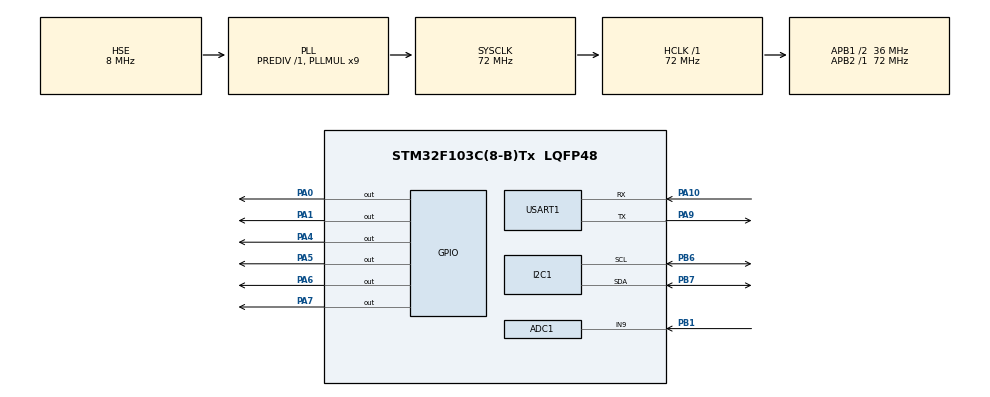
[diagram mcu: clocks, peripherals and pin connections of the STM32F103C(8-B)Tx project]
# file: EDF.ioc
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ADC1.Channel-0\#ChannelRegularConversion=ADC_CHANNEL_9
ADC1.NbrOfConversionFlag=1
ADC1.Rank-0\#ChannelRegularConversion=1
ADC1.SamplingTime-0\#ChannelRegularConversion=ADC_SAMPLETIME_1CYCLE_5
ADC1.master=1
FREERTOS.Tasks01=Task01,32,128,StartTask01,Default,NULL,Dynamic,NULL,NULL;Task02,24,128,StartTask02,Default,NULL,Dynamic,NULL,NULL;Task03,16,128,StartTask03,Default,NULL,Dynamic,NULL,NULL;Task04,24,128,StartTask04,Default,NULL,Dynamic,NULL,NULL
Mcu.Family=STM32F1
Mcu.Name=STM32F103C(8-B)Tx
Mcu.Package=LQFP48
NVIC.PriorityGroup=NVIC_PRIORITYGROUP_4
NVIC.TIM4_IRQn=true\:0\:0\:false\:false\:true\:false\:false\:true
NVIC.TimeBase=TIM4_IRQn
NVIC.TimeBaseIP=TIM4
PA0-WKUP.Signal=GPIO_Output
PA1.Signal=GPIO_Output
PA10.Mode=Asynchronous
PA10.Signal=USART1_RX
PA13.Mode=Serial_Wire
PA13.Signal=SYS_JTMS-SWDIO
PA14.Mode=Serial_Wire
PA14.Signal=SYS_JTCK-SWCLK
PA4.Signal=GPIO_Output
PA5.Signal=GPIO_Output
PA6.Signal=GPIO_Output
PA7.Signal=GPIO_Output
PA9.Mode=Asynchronous
PA9.Signal=USART1_TX
PB1.Signal=ADCx_IN9
PB6.Mode=I2C
PB6.Signal=I2C1_SCL
PB7.Mode=I2C
PB7.Signal=I2C1_SDA
PD0-OSC_IN.Mode=HSE-External-Oscillator
PD0-OSC_IN.Signal=RCC_OSC_IN
PD1-OSC_OUT.Mode=HSE-External-Oscillator
PD1-OSC_OUT.Signal=RCC_OSC_OUT
ProjectManager.HeapSize=0x200
ProjectManager.StackSize=0x400
ProjectManager.TargetToolchain=MDK-ARM V5.27
RCC.ADCPresc=RCC_ADCPCLK2_DIV6
RCC.AHBFreq_Value=72000000
RCC.APB1CLKDivider=RCC_HCLK_DIV2
RCC.APB1Freq_Value=36000000
RCC.APB1TimFreq_Value=72000000
RCC.APB2Freq_Value=72000000
RCC.APB2TimFreq_Value=72000000
RCC.HCLKFreq_Value=72000000
RCC.PLLMUL=RCC_PLL_MUL9
RCC.PLLSourceVirtual=RCC_PLLSOURCE_HSE
RCC.SYSCLKFreq_VALUE=72000000
RCC.SYSCLKSource=RCC_SYSCLKSOURCE_PLLCLK
RCC.USBFreq_Value=72000000
SH.ADCx_IN9.0=ADC1_IN9,IN9
USART1.VirtualMode=VM_ASYNC
VP_FREERTOS_VS_CMSIS_V2.Mode=CMSIS_V2
VP_SYS_VS_tim4.Mode=TIM4
board=custom

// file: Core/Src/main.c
/* USER CODE BEGIN Header */
/**
  ******************************************************************************
  * @file           : main.c
  * @brief          : Main program body
  ******************************************************************************
  * @attention
  *
  * <h2><center>&copy; Copyright (c) 2026 STMicroelectronics.
  * All rights reserved.</center></h2>
  *
  * This software component is licensed by ST under Ultimate Liberty license
  * SLA0044, the "License"; You may not use this file except in compliance with
  * the License. You may obtain a copy of the License at:
  *                             www.st.com/SLA0044
  *
  ******************************************************************************
  */
/* USER CODE END Header */
#include "main.h"
#include "cmsis_os.h"

/* USER CODE BEGIN Includes */
#include <stdio.h>
#include <string.h>
#include <stdarg.h>
#include <stdlib.h>
#include "LCD.h"
#include "SHT31.h"
#include "Soil_Moisture.h"
/* USER CODE END Includes */

/* USER CODE BEGIN PD */
#define Num_Task  4
/* USER CODE END PD */

/* USER CODE BEGIN PM */
typedef struct {
	osThreadId_t *handlePtr; // Pointer points to the Task handle
	uint32_t Period ; 		   // Period T (ms)
	uint32_t NextDeadline ;  // Absolute Tick
	uint32_t ExcutiveTime ;  //  C(ms)
	char* Task_Name;
} EDF_Task_Block_t;

// Global variable manager EDF
EDF_Task_Block_t EDF_Table[Num_Task];

/* USER CODE END PM */

ADC_HandleTypeDef hadc1;

I2C_HandleTypeDef hi2c1;

UART_HandleTypeDef huart1;

/* Definitions for Task01 */
osThreadId_t Task01Handle;
/* Definitions for Task02 */
osThreadId_t Task02Handle;
/* Definitions for Task03 */
osThreadId_t Task03Handle;
/* Definitions for Task04 */
osThreadId_t Task04Handle;
// Definition for Task EDF
osThreadId_t TaskSchedulerHandle;

// Task attribute
const osThreadAttr_t default_attr = {
	.priority = (osPriority_t) osPriorityNormal,
	.stack_size = 128 * 4
};
const osThreadAttr_t scheduler_attr = {
	.name = "EDF_Scheduler", .priority = (osPriority_t) osPriorityRealtime,
	.stack_size = 128 * 4
};
/* USER CODE BEGIN PV */
volatile uint32_t SHT31_Period = 500;
volatile uint32_t SM_Period = 1000;
volatile uint32_t DisplayLCD_Period	= 2000;
volatile uint32_t UART_Period	= 1000;
/* USER CODE END PV */

void SystemClock_Config(void);
static void MX_GPIO_Init(void);
static void MX_ADC1_Init(void);
static void MX_I2C1_Init(void);
static void MX_USART1_UART_Init(void);
void StartTask01(void *argument);
void StartTask02(void *argument);
void StartTask03(void *argument);
void StartTask04(void *argument);
void StartTaskScheduler(void *argument);

/* USER CODE BEGIN 0 */
char buff[128];
void Debug_Log(const char *format,...){
	va_list args ;
	va_start(args,format);
	vsnprintf(buff,sizeof(buff),format,args);
	va_end(args);
	// UART
	HAL_UART_Transmit(&huart1,(uint8_t *)buff,strlen(buff),100);
}
// Receive UART
uint8_t rx_byte;
uint8_t rx_buffer[20];
uint8_t rx_index = 0;
void Process_Command(char *cmd) {
    int value = 0;
    char *ptr = NULL;
    if ((ptr = strstr(cmd, "SHT31:")) != NULL) {
        value = atoi(ptr + 6);
        if (value > 0) SHT31_Period = value;
        Debug_Log("\nSHT31 Period: %d\n", SHT31_Period);
    }
    else if ((ptr = strstr(cmd, "SM:")) != NULL) {
        value = atoi(ptr + 3);
        if (value > 0) SM_Period = value;
        Debug_Log("\nSM Period: %d\n", SM_Period);
    }
    else if ((ptr = strstr(cmd, "\nLCD:")) != NULL) {
        value = atoi(ptr + 4);
        if (value > 0) DisplayLCD_Period = value;
        Debug_Log("\nLCD Period: %d\n", DisplayLCD_Period);
    }
    else if ((ptr = strstr(cmd, "UART:")) != NULL) {
        value = atoi(ptr + 5);
        if (value > 0) UART_Period = value;
        Debug_Log("\nUART Period: %d\n", UART_Period);
    }
}
void HAL_UART_RxCpltCallback(UART_HandleTypeDef *huart) {
    if (huart->Instance == USART1) {
        if (rx_byte != '\n' && rx_index < sizeof(rx_buffer) - 1) {
            rx_buffer[rx_index++] = rx_byte;
        }
        else {
            rx_buffer[rx_index] = '\0';
            Process_Command((char *)rx_buffer);
            rx_index = 0;
        }
        HAL_UART_Receive_IT(&huart1, &rx_byte, 1);
    }
}
float temp ;
float humi;
uint8_t percenttage;
uint8_t LCD_SHT31[40];
void StartTask01(void *argument)
{
	sht31_init();
	uint32_t tick = osKernelGetTickCount();
  for(;;)
  {
		sht31_single_shot(&temp,&humi);
    EDF_Table[0].NextDeadline = tick + 2*EDF_Table[0].Period;
		tick+= EDF_Table[0].Period;
		osDelayUntil(tick);
  }
}
void StartTask02(void *argument)
{
  /* USER CODE BEGIN StartTask02 */
	uint32_t tick = osKernelGetTickCount();
  /* Infinite loop */
  for(;;)
  {
		percenttage = Read_Percen_SM();
		EDF_Table[1].NextDeadline = tick + 2*EDF_Table[1].Period;
		tick += EDF_Table[1].Period;
    osDelayUntil(tick);
  }
  /* USER CODE END StartTask02 */
}
void StartTask03(void *argument)
{
  /* USER CODE BEGIN StartTask03 */
	LCD_Init();
	uint32_t tick = osKernelGetTickCount();
  /* Infinite loop */
  for(;;)
  {
		LCD_SendCommand(0x01);
		LCD_Gotoxy(0,0);
		sprintf((char *)LCD_SHT31,"Temp:%.1f C",temp);
		LCD_Puts((char *)LCD_SHT31);
		LCD_Gotoxy(0,1);
		sprintf((char *)LCD_SHT31,"Hum:%.1f%%",humi);
		LCD_Puts((char *)LCD_SHT31);
		LCD_Gotoxy(10,1);
		sprintf((char *)LCD_SHT31,"SM:%d%%",percenttage);
		LCD_Puts((char *)LCD_SHT31);

		EDF_Table[2].NextDeadline = tick + 2*EDF_Table[2].Period;
		tick += EDF_Table[2].Period;
    osDelayUntil(tick);
  }
  /* USER CODE END StartTask03 */
}
void StartTask04(void *argument)
{
  /* USER CODE BEGIN StartTask04 */
	uint32_t tick = osKernelGetTickCount();
  /* Infinite loop */
  for(;;)
  {
		Debug_Log("Temp: %.2f C, Humi: %.2f%%, ",temp,humi );
		Debug_Log("SM: %d%% \n",percenttage);

		EDF_Table[3].NextDeadline = tick + 2*EDF_Table[3].Period;
		tick += EDF_Table[3].Period;
    osDelayUntil(tick);
  }
  /* USER CODE END StartTask04 */
}
void StartTaskScheduler( void *argument){
	while(1){
		uint32_t currentTick = osKernelGetTickCount();
		uint32_t minDeadline = 0xFFFFFFFF;
		int earliestTaskIndex = -1;
		for(int i=0; i< Num_Task ; i++){
			if(EDF_Table[i].NextDeadline > currentTick){
				if(EDF_Table[i].NextDeadline < minDeadline){
					minDeadline = EDF_Table[i].NextDeadline;
					earliestTaskIndex = i;
				}
			}
		}
		if(earliestTaskIndex != 1){
			for(int i=0; i<Num_Task; i++){
				if( i==earliestTaskIndex){
					osThreadSetPriority( *EDF_Table[i].handlePtr, osPriorityHigh);
				}
				else{
					osThreadSetPriority( *EDF_Table[i].handlePtr, osPriorityNormal);
				}
			}
		}
		osDelay(10);
	}
}
/* USER CODE END 0 */

int main(void)
{

  /* MCU Configuration--------------------------------------------------------*/

  /* Reset of all peripherals, Initializes the Flash interface and the Systick. */
  HAL_Init();

  /* Configure the system clock */
  SystemClock_Config();

  /* Initialize all configured peripherals */
  MX_GPIO_Init();
  MX_ADC1_Init();
  MX_I2C1_Init();
  MX_USART1_UART_Init();

  /* Init scheduler */
  osKernelInitialize();

  /* Create the thread(s) */
  /* creation of Task01 */
  Task01Handle = osThreadNew(StartTask01, NULL, &default_attr);

  /* creation of Task02 */
  Task02Handle = osThreadNew(StartTask02, NULL, &default_attr);

  /* creation of Task03 */
  Task03Handle = osThreadNew(StartTask03, NULL, &default_attr);

  /* creation of Task04 */
  Task04Handle = osThreadNew(StartTask04, NULL, &default_attr);

  /* USER CODE BEGIN RTOS_THREADS */
  /* add threads, ... */
	/* Config parameters EDF */
    // Task 1: SHT31 (C=20, T=500)
    EDF_Table[0].handlePtr = &Task01Handle;
    EDF_Table[0].Period = SHT31_Period;
    EDF_Table[0].ExcutiveTime = 20;
    EDF_Table[0].Task_Name = "SHT31";

    // Task 2: SM (C=2, T=1000)
    EDF_Table[1].handlePtr = &Task02Handle;
    EDF_Table[1].Period = SM_Period;
    EDF_Table[1].ExcutiveTime = 2;
    EDF_Table[1].Task_Name = "SM";

    // Task 3: LCD (C=20, T=2000)
    EDF_Table[2].handlePtr = &Task03Handle;
    EDF_Table[2].Period = DisplayLCD_Period;
    EDF_Table[2].ExcutiveTime = 20;
    EDF_Table[2].Task_Name = "LCD";

    // Task 4: UART (C=5, T=1000)
    EDF_Table[3].handlePtr = &Task04Handle;
    EDF_Table[3].Period = UART_Period;
    EDF_Table[3].ExcutiveTime = 5;
    EDF_Table[3].Task_Name = "UART";

		// Init deadline
		uint32_t currentTick = osKernelGetTickCount();
		for(int i=0; i<Num_Task; i++){
			EDF_Table[i].NextDeadline = currentTick + EDF_Table[i].Period;
		}
		TaskSchedulerHandle = osThreadNew(StartTaskScheduler,NULL, &scheduler_attr);

  /* USER CODE END RTOS_THREADS */

  /* Start scheduler */
  osKernelStart();

  /* We should never get here as control is now taken by the scheduler */
  /* Infinite loop */
  while (1)
  {

  }
}

void SystemClock_Config(void)
{
  RCC_OscInitTypeDef RCC_OscInitStruct = {0};
  RCC_ClkInitTypeDef RCC_ClkInitStruct = {0};
  RCC_PeriphCLKInitTypeDef PeriphClkInit = {0};

  /** Initializes the RCC Oscillators according to the specified parameters
  * in the RCC_OscInitTypeDef structure.
  */
  RCC_OscInitStruct.OscillatorType = RCC_OSCILLATORTYPE_HSE;
  RCC_OscInitStruct.HSEState = RCC_HSE_ON;
  RCC_OscInitStruct.HSEPredivValue = RCC_HSE_PREDIV_DIV1;
  RCC_OscInitStruct.HSIState = RCC_HSI_ON;
  RCC_OscInitStruct.PLL.PLLState = RCC_PLL_ON;
  RCC_OscInitStruct.PLL.PLLSource = RCC_PLLSOURCE_HSE;
  RCC_OscInitStruct.PLL.PLLMUL = RCC_PLL_MUL9;
  if (HAL_RCC_OscConfig(&RCC_OscInitStruct) != HAL_OK)
  {
    Error_Handler();
  }
  /** Initializes the CPU, AHB and APB buses clocks
  */
  RCC_ClkInitStruct.ClockType = RCC_CLOCKTYPE_HCLK|RCC_CLOCKTYPE_SYSCLK
                              |RCC_CLOCKTYPE_PCLK1|RCC_CLOCKTYPE_PCLK2;
  RCC_ClkInitStruct.SYSCLKSource = RCC_SYSCLKSOURCE_PLLCLK;
  RCC_ClkInitStruct.AHBCLKDivider = RCC_SYSCLK_DIV1;
  RCC_ClkInitStruct.APB1CLKDivider = RCC_HCLK_DIV2;
  RCC_ClkInitStruct.APB2CLKDivider = RCC_HCLK_DIV1;

  if (HAL_RCC_ClockConfig(&RCC_ClkInitStruct, FLASH_LATENCY_2) != HAL_OK)
  {
    Error_Handler();
  }
  PeriphClkInit.PeriphClockSelection = RCC_PERIPHCLK_ADC;
  PeriphClkInit.AdcClockSelection = RCC_ADCPCLK2_DIV6;
  if (HAL_RCCEx_PeriphCLKConfig(&PeriphClkInit) != HAL_OK)
  {
    Error_Handler();
  }
}

static void MX_ADC1_Init(void)
{

  ADC_ChannelConfTypeDef sConfig = {0};

  /** Common config
  */
  hadc1.Instance = ADC1;
  hadc1.Init.ScanConvMode = ADC_SCAN_DISABLE;
  hadc1.Init.ContinuousConvMode = DISABLE;
  hadc1.Init.DiscontinuousConvMode = DISABLE;
  hadc1.Init.ExternalTrigConv = ADC_SOFTWARE_START;
  hadc1.Init.DataAlign = ADC_DATAALIGN_RIGHT;
  hadc1.Init.NbrOfConversion = 1;
  if (HAL_ADC_Init(&hadc1) != HAL_OK)
  {
    Error_Handler();
  }
  /** Configure Regular Channel
  */
  sConfig.Channel = ADC_CHANNEL_9;
  sConfig.Rank = ADC_REGULAR_RANK_1;
  sConfig.SamplingTime = ADC_SAMPLETIME_1CYCLE_5;
  if (HAL_ADC_ConfigChannel(&hadc1, &sConfig) != HAL_OK)
  {
    Error_Handler();
  }

}

static void MX_I2C1_Init(void)
{

  hi2c1.Instance = I2C1;
  hi2c1.Init.ClockSpeed = 100000;
  hi2c1.Init.DutyCycle = I2C_DUTYCYCLE_2;
  hi2c1.Init.OwnAddress1 = 0;
  hi2c1.Init.AddressingMode = I2C_ADDRESSINGMODE_7BIT;
  hi2c1.Init.DualAddressMode = I2C_DUALADDRESS_DISABLE;
  hi2c1.Init.OwnAddress2 = 0;
  hi2c1.Init.GeneralCallMode = I2C_GENERALCALL_DISABLE;
  hi2c1.Init.NoStretchMode = I2C_NOSTRETCH_DISABLE;
  if (HAL_I2C_Init(&hi2c1) != HAL_OK)
  {
    Error_Handler();
  }

}

static void MX_USART1_UART_Init(void)
{

  huart1.Instance = USART1;
  huart1.Init.BaudRate = 115200;
  huart1.Init.WordLength = UART_WORDLENGTH_8B;
  huart1.Init.StopBits = UART_STOPBITS_1;
  huart1.Init.Parity = UART_PARITY_NONE;
  huart1.Init.Mode = UART_MODE_TX_RX;
  huart1.Init.HwFlowCtl = UART_HWCONTROL_NONE;
  huart1.Init.OverSampling = UART_OVERSAMPLING_16;
  if (HAL_UART_Init(&huart1) != HAL_OK)
  {
    Error_Handler();
  }

}

static void MX_GPIO_Init(void)
{
  GPIO_InitTypeDef GPIO_InitStruct = {0};

  /* GPIO Ports Clock Enable */
  __HAL_RCC_GPIOD_CLK_ENABLE();
  __HAL_RCC_GPIOA_CLK_ENABLE();
  __HAL_RCC_GPIOB_CLK_ENABLE();

  /*Configure GPIO pin Output Level */
  HAL_GPIO_WritePin(GPIOA, GPIO_PIN_0|GPIO_PIN_1|GPIO_PIN_4|GPIO_PIN_5
                          |GPIO_PIN_6|GPIO_PIN_7, GPIO_PIN_RESET);

  /*Configure GPIO pins : PA0 PA1 PA4 PA5
                           PA6 PA7 */
  GPIO_InitStruct.Pin = GPIO_PIN_0|GPIO_PIN_1|GPIO_PIN_4|GPIO_PIN_5
                          |GPIO_PIN_6|GPIO_PIN_7;
  GPIO_InitStruct.Mode = GPIO_MODE_OUTPUT_PP;
  GPIO_InitStruct.Pull = GPIO_NOPULL;
  GPIO_InitStruct.Speed = GPIO_SPEED_FREQ_LOW;
  HAL_GPIO_Init(GPIOA, &GPIO_InitStruct);

}

void HAL_TIM_PeriodElapsedCallback(TIM_HandleTypeDef *htim)
{
  if (htim->Instance == TIM4) {
    HAL_IncTick();
  }
}

void Error_Handler(void)
{
}

/************************ (C) COPYRIGHT STMicroelectronics *****END OF FILE****/
